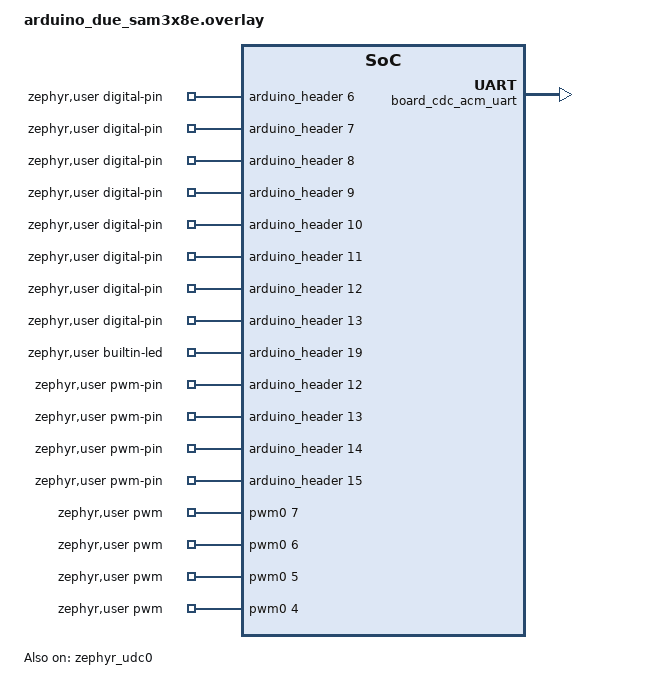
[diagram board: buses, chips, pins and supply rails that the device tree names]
/*
 * Copyright (c) Arduino s.r.l. and/or its affiliated companies
 *
 * SPDX-License-Identifier: Apache-2.0
 */

/ {
        chosen {
                zephyr,code-partition = &code_partition;
        };

        zephyr,user {
                /* Arduino R3 header index: A0-A5 = 0-5, D0-D15 = 6-21 */
                digital-pin-gpios = <&arduino_header 6 0>,  /* D0 */
                                    <&arduino_header 7 0>,
                                    <&arduino_header 8 0>,
                                    <&arduino_header 9 0>,
                                    <&arduino_header 10 0>,
                                    <&arduino_header 11 0>,
                                    <&arduino_header 12 0>,
                                    <&arduino_header 13 0>,
                                    <&arduino_header 14 0>,
                                    <&arduino_header 15 0>,
                                    <&arduino_header 16 0>,
                                    <&arduino_header 17 0>,
                                    <&arduino_header 18 0>,
                                    <&arduino_header 19 0>, /* D13 / LED */
                                    <&arduino_header 20 0>, /* D14 / TX3 */
                                    <&arduino_header 21 0>, /* D15 / RX3 */
                                    <&arduino_header 0 0>,  /* A0 */
                                    <&arduino_header 1 0>,
                                    <&arduino_header 2 0>,
                                    <&arduino_header 3 0>,
                                    <&arduino_header 4 0>,
                                    <&arduino_header 5 0>;

                builtin-led-gpios = <&arduino_header 19 0>;

                /* Hardware PWM: D6-D9 on PWML7-PWML4, 490 Hz */
                pwm-pin-gpios = <&arduino_header 12 0>,
                                <&arduino_header 13 0>,
                                <&arduino_header 14 0>,
                                <&arduino_header 15 0>;

                pwms = <&pwm0 7 2040816 0>,
                       <&pwm0 6 2040816 0>,
                       <&pwm0 5 2040816 0>,
                       <&pwm0 4 2040816 0>;

                cdc-acm-serial = <&board_cdc_acm_uart>; /* 'Serial' object is managed by SerialUSB */
                serials = <&uart>; /* 'Serial1' onwards */
                i2cs = <&twi1 &twi0>;
        };
};

&pwm0_default {
        group1 {
                pinmux = <PC24B_PWM_PWML7>,
                         <PC23B_PWM_PWML6>,
                         <PC22B_PWM_PWML5>,
                         <PC21B_PWM_PWML4>;
        };
};

&zephyr_udc0 {
        status = "okay";

        board_cdc_acm_uart: board_cdc_acm_uart {
                compatible = "zephyr,cdc-acm-uart";
                status = "okay";
        };
};

&flash0 {
        partitions {
                compatible = "fixed-partitions";
                #address-cells = <1>;
                #size-cells = <1>;

                code_partition: partition@0 {
                        label = "code";
                        reg = <0x00000000 0x00040000>;
                        read-only;
                };

                user_sketch: partition@40000 {
                        label = "user";
                        reg = <0x00040000 0x0003c000>;
                };

                storage_partition: partition@7c000 {
                        label = "storage";
                        reg = <0x0007c000 0x00004000>;
                };
        };
};
